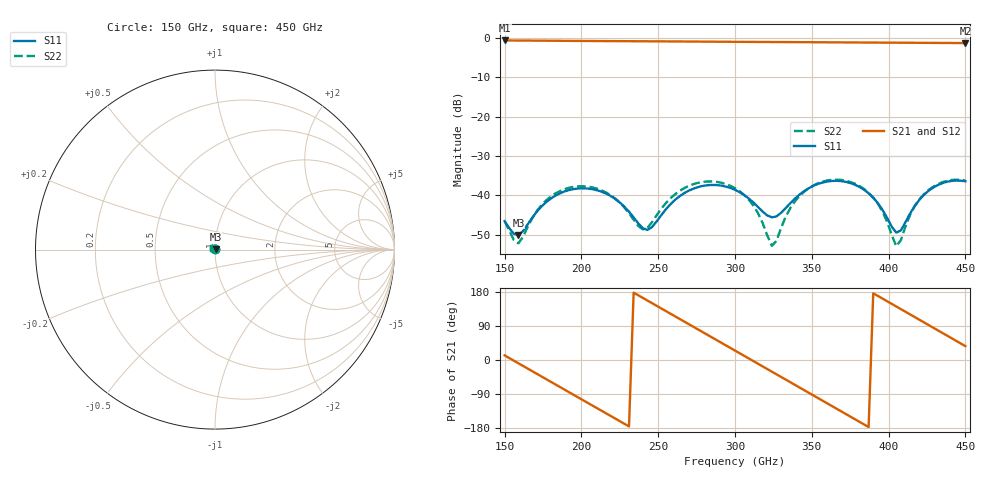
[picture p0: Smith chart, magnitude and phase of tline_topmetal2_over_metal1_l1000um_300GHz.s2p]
#  GHZ S DB R 50
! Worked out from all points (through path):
!   101 points, 150 GHz to 450 GHz, reference 50 ohm
!   highest |S21| = -0.63 dB at 150 GHz (marker M1); lowest = -1.3 dB at 450 GHz (marker M2)
!   group delay of S21, straight-line fit = 6.44 ps
!   lowest |S11| = -50.1 dB at 159 GHz (marker M3), VSWR 1.01, Z = 50.3 + j0.131 ohm
!   |S11| at or under -10 dB: start of sweep to end of sweep
!   |S22| runs from -53.0 to -36.0 dB; largest |S21 - S12| = 1.1e-14
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150  -46.59 105.5  -0.63 12.2  -0.63 12.2  -46.58 119.6
159  -50.15 24.8  -0.65 -8.7  -0.65 -8.7  -52.24 29.8
183  -40.12 -110.5  -0.71 -64.3  -0.71 -64.3  -39.57 -107.9
201  -38.24 -168.8  -0.75 -105.9  -0.75 -105.9  -37.72 -163.0
228  -42.93 99.0  -0.81 -168.4  -0.81 -168.4  -43.13 106.5
240  -48.41 23.9  -0.84 163.9  -0.84 163.9  -48.70 21.1
252  -45.07 -76.4  -0.86 136.1  -0.86 136.1  -43.44 -72.4
264  -40.24 -128.4  -0.89 108.2  -0.89 108.2  -38.89 -118.5
276  -37.92 -168.0  -0.92 80.4  -0.92 80.4  -36.84 -155.1
300  -38.62 115.6  -0.97 24.8  -0.97 24.8  -38.21 136.0
312  -41.86 68.0  -1.00 -3.0  -1.00 -3.0  -42.65 97.0
324  -45.63 -11.7  -1.02 -30.8  -1.02 -30.8  -52.86 3.1
339  -40.87 -109.9  -1.06 -65.6  -1.06 -65.6  -41.57 -119.8
351  -37.62 -154.6  -1.08 -93.4  -1.08 -93.4  -37.50 -156.8
363  -36.37 168.3  -1.11 -121.3  -1.11 -121.3  -36.09 170.1
378  -37.31 123.8  -1.14 -156.1  -1.14 -156.1  -37.06 129.3
393  -42.00 72.9  -1.17 169.1  -1.17 169.1  -42.15 83.4
402  -47.98 17.8  -1.19 148.2  -1.19 148.2  -50.07 32.1
405  -49.52 -16.1  -1.20 141.2  -1.20 141.2  -52.96 -11.3
417  -42.73 -117.9  -1.22 113.3  -1.22 113.3  -42.79 -122.7
426  -38.88 -151.2  -1.24 92.4  -1.24 92.4  -38.68 -152.2
450  -36.46 140.8  -1.30 36.6  -1.30 36.6  -36.26 143.3
